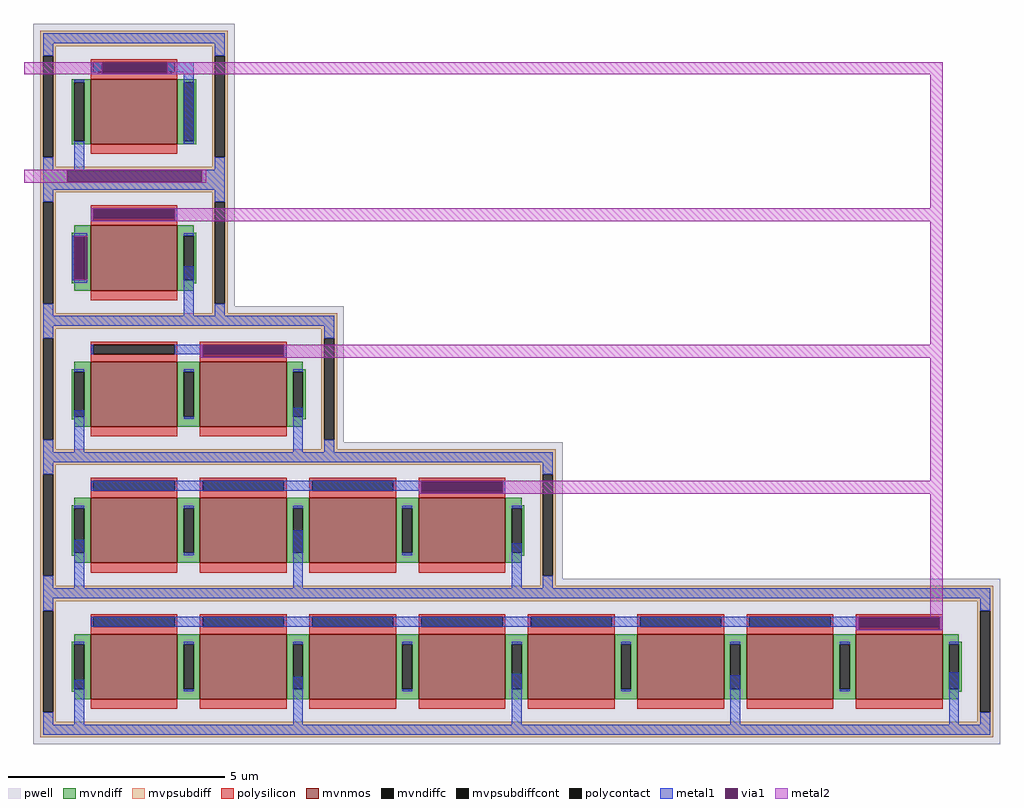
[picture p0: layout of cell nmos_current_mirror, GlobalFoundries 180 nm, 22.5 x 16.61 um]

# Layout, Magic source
magic
tech gf180mcuD
magscale 1 10
<< pwell >>
rect 1729 679 2127 739
rect 2737 51 3135 111
rect 4753 -577 5151 -517
<< polysilicon >>
rect 1729 693 1741 739
rect 2115 693 2127 739
rect 1729 679 2127 693
rect 2737 65 2749 111
rect 3123 65 3135 111
rect 2737 51 3135 65
rect 4753 -563 4765 -517
rect 5139 -563 5151 -517
rect 4753 -577 5151 -563
<< polycontact >>
rect 1741 693 2115 739
rect 2749 65 3123 111
rect 4765 -563 5139 -517
<< metal1 >>
rect 1225 1365 1623 1367
rect 1225 1309 1237 1365
rect 1611 1309 1623 1365
rect 1225 1307 1623 1309
rect 1149 1241 1209 1252
rect 1139 1239 1209 1241
rect 1139 1037 1149 1239
rect 1139 1035 1209 1037
rect 1149 1024 1209 1035
rect 1653 833 1699 1100
rect 1622 693 1741 739
rect 1729 681 1741 693
rect 2115 681 2127 739
rect 1729 679 2127 681
rect 1149 209 1195 435
rect 2157 197 2203 447
rect 1226 65 2749 111
rect 2737 53 2749 65
rect 3123 53 3135 111
rect 2737 51 3135 53
rect 1149 -431 1195 -161
rect 2157 -431 2203 -118
rect 3165 -431 3211 -176
rect 1226 -563 4765 -517
rect 4753 -575 4765 -563
rect 5139 -575 5151 -517
rect 4753 -577 5151 -575
rect 1149 -1059 1195 -807
rect 2157 -1059 2203 -793
rect 3165 -1059 3211 -778
rect 4173 -1059 4219 -785
rect 5181 -1059 5227 -772
<< via1 >>
rect 1237 1309 1611 1365
rect 1149 1037 1209 1239
rect 1741 693 2115 737
rect 1741 681 2115 693
rect 2749 65 3123 109
rect 2749 53 3123 65
rect 4765 -563 5139 -519
rect 4765 -575 5139 -563
<< metal2 >>
rect 1597 1985 5151 2041
rect 5095 1367 5151 1985
rect 1225 1365 5151 1367
rect 1225 1309 1237 1365
rect 1611 1309 5151 1365
rect 1225 1307 5151 1309
rect 1149 1239 1209 1241
rect 1149 1035 1209 1037
rect 5095 739 5151 1307
rect 1729 737 5151 739
rect 1729 681 1741 737
rect 2115 681 5151 737
rect 1729 679 5151 681
rect 5095 111 5151 679
rect 2737 109 5151 111
rect 2737 53 2749 109
rect 3123 53 5151 109
rect 2737 51 5151 53
rect 5095 -517 5151 51
rect 4753 -519 5151 -517
rect 4753 -575 4765 -519
rect 5139 -575 5151 -519
rect 4753 -577 5151 -575
use nbias-gen  nbias-gen_0 /foss/designs/sscs-chipathon2025-LNA/designs/libs/core_current-mirror/nbias-gen
transform 1 0 1277 0 1 2190
box -360 -736 611 28
use nfet_06v0_76X9JA  nfet_06v0_76X9JA_0
transform 1 0 1424 0 1 1162
box -464 -382 464 382
use nfet_06v0_76X92D  nfet_06v0_76X92D_0
transform 1 0 1676 0 1 534
box -716 -382 716 382
use nfet_06v0_76X92S  nfet_06v0_76X92S_0
transform 1 0 2180 0 1 -94
box -1220 -382 1220 382
use nfet_06v0_76X92U  nfet_06v0_76X92U_0
transform 1 0 3188 0 1 -722
box -2228 -382 2228 382
<< end >>

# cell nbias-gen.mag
magic
tech gf180mcuD
magscale 1 10
<< metal1 >>
rect 320 -151 422 -149
rect -48 -195 0 -151
rect -20 -203 0 -195
rect 300 -195 422 -151
rect 300 -203 320 -195
rect -20 -205 320 -203
rect -128 -645 -82 -525
rect 376 -526 422 -195
rect -180 -647 480 -645
rect -180 -703 -160 -647
rect 460 -703 480 -647
rect -180 -705 480 -703
<< via1 >>
rect 0 -203 300 -151
rect -160 -703 460 -647
<< metal2 >>
rect -360 -151 320 -149
rect -360 -203 0 -151
rect 300 -203 320 -151
rect -360 -205 320 -203
rect -360 -647 480 -645
rect -360 -703 -160 -647
rect 460 -703 480 -647
rect -360 -705 480 -703
use nfet_06v0_7KPYRP  M1
transform 1 0 147 0 1 -354
box -464 -382 464 382
<< labels >>
flabel metal2 -360 -205 -304 -149 0 FreeSans 320 0 0 0 IBIAS
port 1 nsew
flabel metal2 -360 -705 -300 -645 0 FreeSans 320 0 0 0 VSS
port 3 nsew
<< end >>

# cell nfet_06v0_76X9JA: kit device nfet_06v0, w 1.5 l 2 m 1 nf 1 diffcov 75 polycov 100 guard 1 glc 1 grc 1 gtc 0 gbc 0 tbcov 100 rlcov 100 topc 1 botc 0 poverlap 0 doverlap 1 lmin 0.6 wmin 0.3 class mosfet full_metal 1 compatible {nfet_03v3 nfet_06v0 nfet_06v0_nvt}

# cell nfet_06v0_76X92D: kit device nfet_06v0, w 1.5 l 2 m 1 nf 2 diffcov 75 polycov 100 guard 1 glc 1 grc 1 gtc 0 gbc 0 tbcov 100 rlcov 100 topc 1 botc 0 poverlap 0 doverlap 1 lmin 0.6 wmin 0.3 class mosfet full_metal 1 compatible {nfet_03v3 nfet_06v0 nfet_06v0_nvt}

# cell nfet_06v0_76X92S: kit device nfet_06v0, w 1.5 l 2 m 1 nf 4 diffcov 75 polycov 100 guard 1 glc 1 grc 1 gtc 0 gbc 0 tbcov 100 rlcov 100 topc 1 botc 0 poverlap 0 doverlap 1 lmin 0.6 wmin 0.3 class mosfet full_metal 1 compatible {nfet_03v3 nfet_06v0 nfet_06v0_nvt}

# cell nfet_06v0_76X92U: kit device nfet_06v0, w 1.5 l 2 m 1 nf 8 diffcov 75 polycov 100 guard 1 glc 1 grc 1 gtc 0 gbc 0 tbcov 100 rlcov 100 topc 1 botc 0 poverlap 0 doverlap 1 lmin 0.6 wmin 0.3 class mosfet full_metal 1 compatible {nfet_03v3 nfet_06v0 nfet_06v0_nvt}

# cell nfet_06v0_7KPYRP: kit device nfet_06v0, w 1.5 l 2.0 m 1 nf 1 diffcov 100 polycov 100 guard 1 glc 1 grc 1 gtc 0 gbc 0 tbcov 100 rlcov 100 topc 1 botc 0 poverlap 0 doverlap 1 lmin 0.28 wmin 0.22 class mosfet full_metal 1 compatible {nfet_03v3 nfet_06v0 nfet_06v0_nvt}
